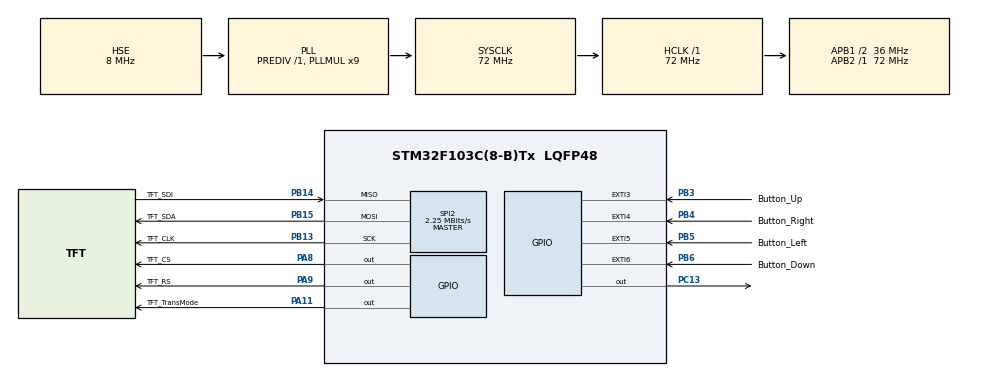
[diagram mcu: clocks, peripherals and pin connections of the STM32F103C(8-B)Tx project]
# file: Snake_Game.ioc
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Dma.Request0=SPI2_RX
Dma.Request1=SPI2_TX
Dma.SPI2_RX.0.Direction=DMA_PERIPH_TO_MEMORY
Dma.SPI2_RX.0.Instance=DMA1_Channel4
Dma.SPI2_RX.0.MemDataAlignment=DMA_MDATAALIGN_BYTE
Dma.SPI2_RX.0.MemInc=DMA_MINC_ENABLE
Dma.SPI2_RX.0.Mode=DMA_NORMAL
Dma.SPI2_RX.0.PeriphDataAlignment=DMA_PDATAALIGN_BYTE
Dma.SPI2_RX.0.PeriphInc=DMA_PINC_DISABLE
Dma.SPI2_RX.0.Priority=DMA_PRIORITY_LOW
Dma.SPI2_TX.1.Direction=DMA_MEMORY_TO_PERIPH
Dma.SPI2_TX.1.Instance=DMA1_Channel5
Dma.SPI2_TX.1.MemDataAlignment=DMA_MDATAALIGN_BYTE
Dma.SPI2_TX.1.MemInc=DMA_MINC_ENABLE
Dma.SPI2_TX.1.Mode=DMA_NORMAL
Dma.SPI2_TX.1.PeriphDataAlignment=DMA_PDATAALIGN_BYTE
Dma.SPI2_TX.1.PeriphInc=DMA_PINC_DISABLE
Dma.SPI2_TX.1.Priority=DMA_PRIORITY_LOW
Mcu.Family=STM32F1
Mcu.Name=STM32F103C(8-B)Tx
Mcu.Package=LQFP48
NVIC.DMA1_Channel4_IRQn=true\:0\:0\:false\:false\:true\:false\:true\:true
NVIC.DMA1_Channel5_IRQn=true\:0\:0\:false\:false\:true\:false\:true\:true
NVIC.EXTI3_IRQn=true\:0\:0\:false\:false\:true\:true\:true\:true
NVIC.EXTI4_IRQn=true\:0\:0\:false\:false\:true\:true\:true\:true
NVIC.EXTI9_5_IRQn=true\:0\:0\:false\:false\:true\:true\:true\:true
NVIC.PriorityGroup=NVIC_PRIORITYGROUP_4
PA11.GPIO_Label=TFT_TransMode
PA11.Signal=GPIO_Output
PA13.Mode=Serial_Wire
PA13.Signal=SYS_JTMS-SWDIO
PA14.Mode=Serial_Wire
PA14.Signal=SYS_JTCK-SWCLK
PA8.GPIO_Label=TFT_CS
PA8.GPIO_PuPd=GPIO_NOPULL
PA8.PinState=GPIO_PIN_RESET
PA8.Signal=GPIO_Output
PA9.GPIO_Label=TFT_RS
PA9.Signal=GPIO_Output
PB13.GPIO_Label=TFT_CLK
PB13.Mode=Full_Duplex_Master
PB13.Signal=SPI2_SCK
PB14.GPIO_Label=TFT_SDI
PB14.Mode=Full_Duplex_Master
PB14.Signal=SPI2_MISO
PB15.GPIO_Label=TFT_SDA
PB15.Mode=Full_Duplex_Master
PB15.Signal=SPI2_MOSI
PB3.GPIO_Label=Button_Up
PB3.GPIO_ModeDefaultEXTI=GPIO_MODE_IT_FALLING
PB3.GPIO_PuPd=GPIO_PULLUP
PB3.Signal=GPXTI3
PB4.GPIO_Label=Button_Right
PB4.GPIO_ModeDefaultEXTI=GPIO_MODE_IT_FALLING
PB4.GPIO_PuPd=GPIO_PULLUP
PB4.Signal=GPXTI4
PB5.GPIO_Label=Button_Left
PB5.GPIO_ModeDefaultEXTI=GPIO_MODE_IT_FALLING
PB5.GPIO_PuPd=GPIO_PULLUP
PB5.Signal=GPXTI5
PB6.GPIO_Label=Button_Down
PB6.GPIO_ModeDefaultEXTI=GPIO_MODE_IT_FALLING
PB6.GPIO_PuPd=GPIO_PULLUP
PB6.Signal=GPXTI6
PC13-TAMPER-RTC.GPIO_ModeDefaultOutputPP=GPIO_MODE_OUTPUT_PP
PC13-TAMPER-RTC.PinState=GPIO_PIN_SET
PC13-TAMPER-RTC.Signal=GPIO_Output
PD0-OSC_IN.Mode=HSE-External-Oscillator
PD0-OSC_IN.Signal=RCC_OSC_IN
PD1-OSC_OUT.Mode=HSE-External-Oscillator
PD1-OSC_OUT.Signal=RCC_OSC_OUT
ProjectManager.HeapSize=0x200
ProjectManager.StackSize=0x400
ProjectManager.TargetToolchain=CMake
RCC.AHBFreq_Value=72000000
RCC.APB1CLKDivider=RCC_HCLK_DIV2
RCC.APB1Freq_Value=36000000
RCC.APB1TimFreq_Value=72000000
RCC.APB2Freq_Value=72000000
RCC.APB2TimFreq_Value=72000000
RCC.HCLKFreq_Value=72000000
RCC.PLLMUL=RCC_PLL_MUL9
RCC.PLLSourceVirtual=RCC_PLLSOURCE_HSE
RCC.SYSCLKFreq_VALUE=72000000
RCC.SYSCLKSource=RCC_SYSCLKSOURCE_PLLCLK
RCC.USBFreq_Value=72000000
SPI2.BaudRatePrescaler=SPI_BAUDRATEPRESCALER_16
SPI2.CalculateBaudRate=2.25 MBits/s
SPI2.Direction=SPI_DIRECTION_2LINES
SPI2.Mode=SPI_MODE_MASTER
SPI2.VirtualType=VM_MASTER
board=custom

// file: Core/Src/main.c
/* USER CODE BEGIN Header */
/**
  ******************************************************************************
  * @file           : main.c
  * @brief          : Main program body
  ******************************************************************************
  * @attention
  *
  * Copyright (c) 2025 STMicroelectronics.
  * All rights reserved.
  *
  * This software is licensed under terms that can be found in the LICENSE file
  * in the root directory of this software component.
  * If no LICENSE file comes with this software, it is provided AS-IS.
  *
  ******************************************************************************
  */
/* USER CODE END Header */
#include "main.h"

/* USER CODE BEGIN Includes */
#include <stdlib.h>
#include <string.h>
#include <stdlib.h>  // srand, rand
#include <time.h>    // time
#include "snake_game.h"
/* USER CODE END Includes */

/* USER CODE BEGIN PD */
#define X_START_PIX_POS_VALID 1
#define Y_START_PIX_POS_VALID 1
#define X_END_PIX_POS_VALID 126
#define Y_END_PIX_POS_VALID 158

#define Is_up_active 0
#define Is_right_active  1
#define Is_down_active  2
#define Is_left_active  3
#define LEN(x) x*Size_per_block
/* USER CODE END PD */

SPI_HandleTypeDef hspi2;
DMA_HandleTypeDef hdma_spi2_rx;
DMA_HandleTypeDef hdma_spi2_tx;

/* USER CODE BEGIN PV */
volatile int dma_tx_done = 0;
volatile int dma_rx_done = 0;

/* USER CODE END PV */

void SystemClock_Config(void);
static void MX_GPIO_Init(void);
static void MX_DMA_Init(void);
static void MX_SPI2_Init(void);
/* USER CODE BEGIN PFP */
int key = 1;
void HAL_SPI_TxCpltCallback(SPI_HandleTypeDef *hspi) {
	if (hspi == &hspi2) dma_tx_done = 1;
}

void HAL_SPI_TxRxCpltCallback(SPI_HandleTypeDef *hspi) {
	if (hspi == &hspi2) dma_rx_done = 1;
}

void HAL_GPIO_EXTI_Callback(uint16_t GPIO_Pin)
{
  UNUSED(GPIO_Pin);
  if (Button_Up_Pin == GPIO_Pin)
  {
    HAL_GPIO_WritePin(GPIOC, GPIO_PIN_13, 1);
    key = 0;
  }
  else if (Button_Right_Pin == GPIO_Pin)
  {
    HAL_GPIO_WritePin(GPIOC, GPIO_PIN_13, 1);
    key = 1;
  }
  else if (Button_Left_Pin == GPIO_Pin)
  {
    HAL_GPIO_WritePin(GPIOC, GPIO_PIN_13, 0);
    key = 3;
  }
  else if (Button_Down_Pin == GPIO_Pin)
  {
    HAL_GPIO_WritePin(GPIOC, GPIO_PIN_13, 0);
    key = 2;
  }

}
/* USER CODE END PFP */

/* USER CODE BEGIN 0 */

void ST7735_SendCommand(uint8_t cmd)
{
  dma_tx_done = 0;
  HAL_GPIO_WritePin(TFT_TransMode_GPIO_Port, TFT_TransMode_Pin, GPIO_PIN_RESET); // Command mode
  HAL_GPIO_WritePin(TFT_CS_GPIO_Port, TFT_CS_Pin, GPIO_PIN_RESET);
  HAL_SPI_Transmit_DMA(&hspi2, &cmd, 1);
  while (!dma_tx_done)
    ;
  HAL_GPIO_WritePin(TFT_CS_GPIO_Port, TFT_CS_Pin, GPIO_PIN_SET);
}

void ST7735_SendData(uint8_t *data, uint16_t size)
{
  dma_tx_done = 0;
  HAL_GPIO_WritePin(TFT_TransMode_GPIO_Port, TFT_TransMode_Pin, GPIO_PIN_SET); // Data mode
  HAL_GPIO_WritePin(TFT_CS_GPIO_Port, TFT_CS_Pin, GPIO_PIN_RESET);
  HAL_SPI_Transmit_DMA(&hspi2, data, size);
  while (!dma_tx_done)
    ;
  HAL_GPIO_WritePin(TFT_CS_GPIO_Port, TFT_CS_Pin, GPIO_PIN_SET);
}

void ST7735_Reset(void)
{
  HAL_GPIO_WritePin(TFT_RS_GPIO_Port, TFT_RS_Pin, GPIO_PIN_RESET);
  HAL_Delay(10);
  HAL_GPIO_WritePin(TFT_RS_GPIO_Port, TFT_RS_Pin, GPIO_PIN_SET);
  HAL_Delay(10);
}

void ST7735_Init(void)
{
  ST7735_Reset();

  ST7735_SendCommand(0x01); // Software reset
  HAL_Delay(150);

  ST7735_SendCommand(0x11); // Sleep out
  HAL_Delay(150);

  ST7735_SendCommand(0x3A); // Interface Pixel Format
  uint8_t data = 0x05;      // 16-bit color
  ST7735_SendData(&data, 1);

  ST7735_SendCommand(0x29); // Display ON
  HAL_Delay(10);
}

// Fill entire screen by 1 color
void ST7735_FillScreen(uint16_t color)
{
  uint8_t data[2] = { color >> 8 , color & 0xFF};
  ST7735_SendCommand(0x2A);                // Column addr set
  uint8_t col[] = {0x00, 0x00, 0x00, 127}; // x0 to x127
  ST7735_SendData(col, 4);

  ST7735_SendCommand(0x2B);                // Row addr set
  uint8_t row[] = {0x00, 0x00, 0x00, 159}; // y0 to y159
  ST7735_SendData(row, 4);

  ST7735_SendCommand(0x2C); // Memory write

  HAL_GPIO_WritePin(TFT_TransMode_GPIO_Port, TFT_TransMode_Pin, GPIO_PIN_SET);
  HAL_GPIO_WritePin(TFT_CS_GPIO_Port, TFT_CS_Pin, GPIO_PIN_RESET);
  dma_tx_done = 0;
  for (int i = 0; i < 128 * 160; i++)
  {
    HAL_SPI_Transmit_DMA(&hspi2, data, 2);
    while (!dma_tx_done)
      ;
  }
  HAL_GPIO_WritePin(TFT_CS_GPIO_Port, TFT_CS_Pin, GPIO_PIN_SET);
}

void ST7735_Drawing(uint16_t color, uint8_t pos_x, uint8_t pos_y, uint8_t width, uint8_t height)
{
  uint8_t data[2] = { color >> 8 , color & 0xFF};
  ST7735_SendCommand(0x2A);                // Column addr set
  uint8_t col[] = {0x00, pos_x, 0x00, pos_x + width-1}; // x0 to x127
  ST7735_SendData(col, 4);

  ST7735_SendCommand(0x2B);                // Row addr set
  uint8_t row[] = {0x00, pos_y, 0x00, pos_y+height-1}; // y0 to y159
  ST7735_SendData(row, 4);

  ST7735_SendCommand(0x2C); // Memory write

  HAL_GPIO_WritePin(TFT_TransMode_GPIO_Port, TFT_TransMode_Pin, GPIO_PIN_SET);
  HAL_GPIO_WritePin(TFT_CS_GPIO_Port, TFT_CS_Pin, GPIO_PIN_RESET);
  dma_tx_done = 0;
  uint16_t total_pix =  (width) * (height);
  for (int i = 0; i < (total_pix) ; i++)
  {
    HAL_SPI_Transmit_DMA(&hspi2, data, 2);
    while (!dma_tx_done)
      ;
  }
  HAL_GPIO_WritePin(TFT_CS_GPIO_Port, TFT_CS_Pin, GPIO_PIN_SET);
}
int Random(uint8_t max, uint8_t min) {
    return (rand() % (max - min + 1)) + min;
}

uint32_t cnt = 0;
uint8_t Cnt2Delay(uint16_t time){
  if( (cnt + time) > HAL_GetTick()){
    return 0;
  }
  else{
    cnt = HAL_GetTick();
  }
}

/* USER CODE END 0 */

int main(void)
{

  /* USER CODE BEGIN 1 */
  // branch = (branch_info*)malloc(total_branch * sizeof(branch_info));
  // branch[0].branch_lenght = 7;
  // branch[0].dir = emD_Right;

  /* USER CODE END 1 */

  /* MCU Configuration--------------------------------------------------------*/

  /* Reset of all peripherals, Initializes the Flash interface and the Systick. */
  HAL_Init();

  /* Configure the system clock */
  SystemClock_Config();

  /* Initialize all configured peripherals */
  MX_GPIO_Init();
  MX_DMA_Init();
  MX_SPI2_Init();
  /* USER CODE BEGIN 2 */
  ST7735_Init();
  ST7735_FillScreen(0x0000); // Fill black
  Snake My_Snake;
  Cherry cherry;
  cherry.pos_x = Random(108,4); //128 - 2* OBJECTS_THICKNESS - Cherry_Size <=> 128 - 2* 4 - OBJECTS_THICKNESS*3
  cherry.pos_y = Random(140,4); //160 - 2* OBJECTS_THICKNESS - Cherry_Size <=> 160 - 2* 4 - OBJECTS_THICKNESS*3
  cherry.color  = 0xf800;
  Init(&My_Snake);
  My_Snake.Init_border(&My_Snake);
  ST7735_Drawing(My_Snake.boder.color, My_Snake.boder.pos_x,My_Snake.boder.pos_y,My_Snake.boder.width,My_Snake.boder.height);
  My_Snake.Init_valid_space(&My_Snake);
  ST7735_Drawing(My_Snake.valid_space.color, My_Snake.valid_space.pos_x,My_Snake.valid_space.pos_y,My_Snake.valid_space.width,My_Snake.valid_space.height);
  My_Snake.Snake_Init_Shape(&My_Snake);
  ST7735_Drawing(My_Snake.snake.color, My_Snake.snake.pos_x,My_Snake.snake.pos_y,My_Snake.snake.width,My_Snake.snake.height);
  Cherry_Control(&cherry);
  ST7735_Drawing(cherry.color, cherry.pos_x,cherry.pos_y,cherry.width,cherry.height);

  /* USER CODE END 2 */

  /* Infinite loop */
  /* USER CODE BEGIN WHILE */
  while (1)
  {
    if (Cnt2Delay(100))
    {
      Snake_Control(&My_Snake,&key);
      if(My_Snake.IsDeath == emHit_the_Wall){
        ST7735_Drawing(My_Snake.boder.color, My_Snake.boder.pos_x,My_Snake.boder.pos_y,My_Snake.boder.width,My_Snake.boder.height);
        ST7735_Drawing(My_Snake.valid_space.color, My_Snake.valid_space.pos_x,My_Snake.valid_space.pos_y,My_Snake.valid_space.width,My_Snake.valid_space.height);
        ST7735_Drawing(My_Snake.snake.color, My_Snake.snake.pos_x,My_Snake.snake.pos_y,My_Snake.snake.width,My_Snake.snake.height);
        cherry.pos_x = Random(108,4);
        cherry.pos_y = Random(140,4);
        Cherry_Control(&cherry);
        ST7735_Drawing(cherry.color, cherry.pos_x,cherry.pos_y,cherry.width,cherry.height);
      }
      else if(My_Snake.IsDeath == emEat){
        Get_Cherry(&cherry);
        ST7735_Drawing(cherry.color, cherry.pos_x,cherry.pos_y,cherry.width,cherry.height);
        ST7735_Drawing(My_Snake.snake_head.color, My_Snake.snake_head.pos_x,My_Snake.snake_head.pos_y,My_Snake.snake_head.width,My_Snake.snake_head.height);
        ST7735_Drawing(My_Snake.snake_tail.color, My_Snake.snake_tail.pos_x,My_Snake.snake_tail.pos_y,My_Snake.snake_tail.width,My_Snake.snake_tail.height);
        ST7735_Drawing(My_Snake.snake_rmv.color, My_Snake.snake_rmv.pos_x,My_Snake.snake_rmv.pos_y,My_Snake.snake_rmv.width,My_Snake.snake_rmv.height);
        cherry.pos_x = Random(108,4);
        cherry.pos_y = Random(140,4);
        Cherry_Control(&cherry);
        ST7735_Drawing(cherry.color, cherry.pos_x,cherry.pos_y,cherry.width,cherry.height);

      }
      else{
        ST7735_Drawing(My_Snake.snake_head.color, My_Snake.snake_head.pos_x,My_Snake.snake_head.pos_y,My_Snake.snake_head.width,My_Snake.snake_head.height);
        ST7735_Drawing(My_Snake.snake_tail.color, My_Snake.snake_tail.pos_x,My_Snake.snake_tail.pos_y,My_Snake.snake_tail.width,My_Snake.snake_tail.height);
        ST7735_Drawing(My_Snake.snake_rmv.color, My_Snake.snake_rmv.pos_x,My_Snake.snake_rmv.pos_y,My_Snake.snake_rmv.width,My_Snake.snake_rmv.height);
      }
    }

    /* USER CODE END WHILE */

  }
}

void SystemClock_Config(void)
{
  RCC_OscInitTypeDef RCC_OscInitStruct = {0};
  RCC_ClkInitTypeDef RCC_ClkInitStruct = {0};

  /** Initializes the RCC Oscillators according to the specified parameters
  * in the RCC_OscInitTypeDef structure.
  */
  RCC_OscInitStruct.OscillatorType = RCC_OSCILLATORTYPE_HSE;
  RCC_OscInitStruct.HSEState = RCC_HSE_ON;
  RCC_OscInitStruct.HSEPredivValue = RCC_HSE_PREDIV_DIV1;
  RCC_OscInitStruct.HSIState = RCC_HSI_ON;
  RCC_OscInitStruct.PLL.PLLState = RCC_PLL_ON;
  RCC_OscInitStruct.PLL.PLLSource = RCC_PLLSOURCE_HSE;
  RCC_OscInitStruct.PLL.PLLMUL = RCC_PLL_MUL9;
  if (HAL_RCC_OscConfig(&RCC_OscInitStruct) != HAL_OK)
  {
    Error_Handler();
  }

  /** Initializes the CPU, AHB and APB buses clocks
  */
  RCC_ClkInitStruct.ClockType = RCC_CLOCKTYPE_HCLK|RCC_CLOCKTYPE_SYSCLK
                              |RCC_CLOCKTYPE_PCLK1|RCC_CLOCKTYPE_PCLK2;
  RCC_ClkInitStruct.SYSCLKSource = RCC_SYSCLKSOURCE_PLLCLK;
  RCC_ClkInitStruct.AHBCLKDivider = RCC_SYSCLK_DIV1;
  RCC_ClkInitStruct.APB1CLKDivider = RCC_HCLK_DIV2;
  RCC_ClkInitStruct.APB2CLKDivider = RCC_HCLK_DIV1;

  if (HAL_RCC_ClockConfig(&RCC_ClkInitStruct, FLASH_LATENCY_2) != HAL_OK)
  {
    Error_Handler();
  }
}

static void MX_SPI2_Init(void)
{

  /* SPI2 parameter configuration*/
  hspi2.Instance = SPI2;
  hspi2.Init.Mode = SPI_MODE_MASTER;
  hspi2.Init.Direction = SPI_DIRECTION_2LINES;
  hspi2.Init.DataSize = SPI_DATASIZE_8BIT;
  hspi2.Init.CLKPolarity = SPI_POLARITY_LOW;
  hspi2.Init.CLKPhase = SPI_PHASE_1EDGE;
  hspi2.Init.NSS = SPI_NSS_SOFT;
  hspi2.Init.BaudRatePrescaler = SPI_BAUDRATEPRESCALER_16;
  hspi2.Init.FirstBit = SPI_FIRSTBIT_MSB;
  hspi2.Init.TIMode = SPI_TIMODE_DISABLE;
  hspi2.Init.CRCCalculation = SPI_CRCCALCULATION_DISABLE;
  hspi2.Init.CRCPolynomial = 10;
  if (HAL_SPI_Init(&hspi2) != HAL_OK)
  {
    Error_Handler();
  }

}

static void MX_DMA_Init(void)
{

  /* DMA controller clock enable */
  __HAL_RCC_DMA1_CLK_ENABLE();

  /* DMA interrupt init */
  /* DMA1_Channel4_IRQn interrupt configuration */
  HAL_NVIC_SetPriority(DMA1_Channel4_IRQn, 0, 0);
  HAL_NVIC_EnableIRQ(DMA1_Channel4_IRQn);
  /* DMA1_Channel5_IRQn interrupt configuration */
  HAL_NVIC_SetPriority(DMA1_Channel5_IRQn, 0, 0);
  HAL_NVIC_EnableIRQ(DMA1_Channel5_IRQn);

}

static void MX_GPIO_Init(void)
{
  GPIO_InitTypeDef GPIO_InitStruct = {0};

  /* GPIO Ports Clock Enable */
  __HAL_RCC_GPIOC_CLK_ENABLE();
  __HAL_RCC_GPIOD_CLK_ENABLE();
  __HAL_RCC_GPIOB_CLK_ENABLE();
  __HAL_RCC_GPIOA_CLK_ENABLE();

  /*Configure GPIO pin Output Level */
  HAL_GPIO_WritePin(GPIOC, GPIO_PIN_13, GPIO_PIN_SET);

  /*Configure GPIO pin Output Level */
  HAL_GPIO_WritePin(GPIOA, TFT_CS_Pin|TFT_RS_Pin|TFT_TransMode_Pin, GPIO_PIN_RESET);

  /*Configure GPIO pin : PC13 */
  GPIO_InitStruct.Pin = GPIO_PIN_13;
  GPIO_InitStruct.Mode = GPIO_MODE_OUTPUT_PP;
  GPIO_InitStruct.Pull = GPIO_NOPULL;
  GPIO_InitStruct.Speed = GPIO_SPEED_FREQ_LOW;
  HAL_GPIO_Init(GPIOC, &GPIO_InitStruct);

  /*Configure GPIO pins : TFT_CS_Pin TFT_RS_Pin TFT_TransMode_Pin */
  GPIO_InitStruct.Pin = TFT_CS_Pin|TFT_RS_Pin|TFT_TransMode_Pin;
  GPIO_InitStruct.Mode = GPIO_MODE_OUTPUT_PP;
  GPIO_InitStruct.Pull = GPIO_NOPULL;
  GPIO_InitStruct.Speed = GPIO_SPEED_FREQ_LOW;
  HAL_GPIO_Init(GPIOA, &GPIO_InitStruct);

  /*Configure GPIO pins : Button_Up_Pin Button_Right_Pin Button_Left_Pin Button_Down_Pin */
  GPIO_InitStruct.Pin = Button_Up_Pin|Button_Right_Pin|Button_Left_Pin|Button_Down_Pin;
  GPIO_InitStruct.Mode = GPIO_MODE_IT_FALLING;
  GPIO_InitStruct.Pull = GPIO_PULLUP;
  HAL_GPIO_Init(GPIOB, &GPIO_InitStruct);

  /* EXTI interrupt init*/
  HAL_NVIC_SetPriority(EXTI3_IRQn, 0, 0);
  HAL_NVIC_EnableIRQ(EXTI3_IRQn);

  HAL_NVIC_SetPriority(EXTI4_IRQn, 0, 0);
  HAL_NVIC_EnableIRQ(EXTI4_IRQn);

  HAL_NVIC_SetPriority(EXTI9_5_IRQn, 0, 0);
  HAL_NVIC_EnableIRQ(EXTI9_5_IRQn);

}

void Error_Handler(void)
{
  __disable_irq();
  while (1)
  {
  }
}
